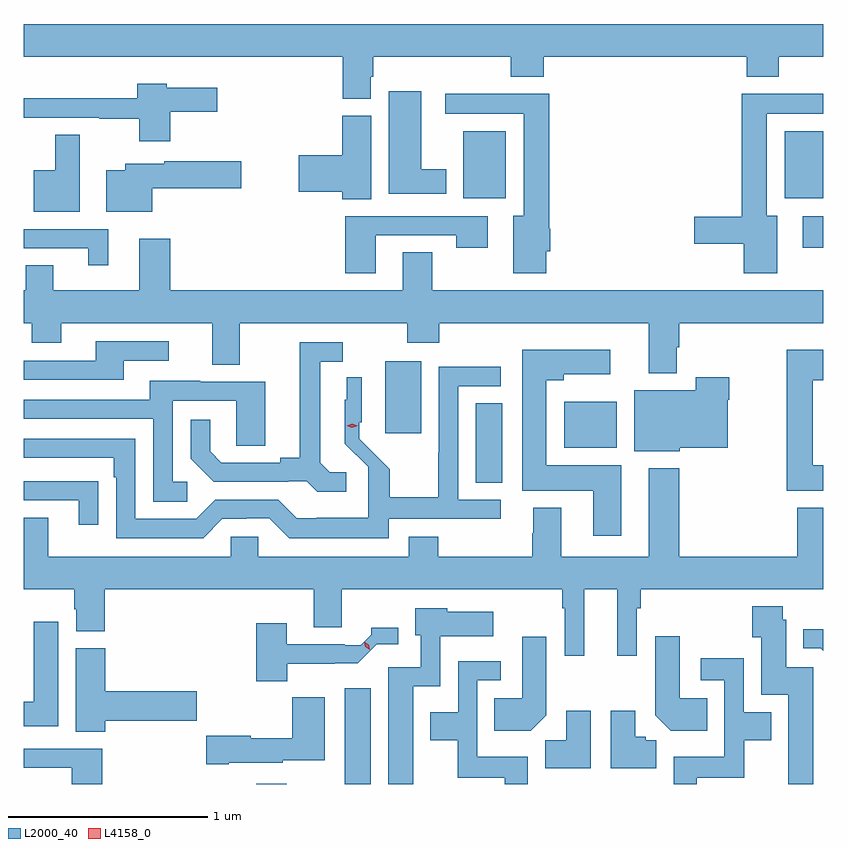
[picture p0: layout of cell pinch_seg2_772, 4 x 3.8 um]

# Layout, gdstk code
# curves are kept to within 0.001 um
import gdstk
lib = gdstk.Library(unit=1e-6, precision=1e-09)
def R(c, l, rs):  # rectangles x0, y0, x1, y1
    for r in rs: c.add(gdstk.rectangle(r[:2], r[2:], *l))
def P(c, l, *ps):  # polygons
    for p in ps: c.add(gdstk.Polygon(p, *l))
L2000_40 = (2000, 40)
L4158_0 = (4158, 0)

pinch_seg2_772 = lib.new_cell('pinch_seg2_772')
R(pinch_seg2_772, L2000_40, [(661.979,659.982,662.131,659.983), (662.42,659.982,662.551,660.46), (663.077,661.489,663.208,661.886), (663.518,661.664,663.781,661.894), (662.624,661.736,662.803,662.098), (664.713,662.664,664.815,662.823), (663.014,662.912,663.226,663.247), (664.622,662.912,664.815,663.247)])
P(pinch_seg2_772, L2000_40, [(662.551,663.519),(662.564,663.519),(662.564,663.62),(663.251,663.62),(663.251,663.521),(663.416,663.521),(663.416,663.62),(664.433,663.62),(664.433,663.521),(664.593,663.521),(664.593,663.62),(664.815,663.62),(664.815,663.784),(660.815,663.784),(660.815,663.62),(662.411,663.62),(662.411,663.409),(662.551,663.409)],
  [(661.547,663.344),(661.783,663.344),(661.783,663.466),(661.53,663.466),(661.53,663.484),(661.382,663.484),(661.382,663.413),(660.815,663.413),(660.815,663.315),(661.192,663.315),(661.192,663.31),(661.394,663.31),(661.394,663.198),(661.547,663.198)],
  [(662.929,663.058),(662.803,663.058),(662.803,663.448),(662.642,663.448),(662.642,662.936),(662.929,662.936)],
  [(663.43,662.646),(663.448,662.646),(663.448,662.76),(663.443,662.76),(663.443,663.434),(662.925,663.434),(662.925,663.336),(663.317,663.336),(663.317,662.824),(663.263,662.824),(663.263,662.538),(663.43,662.538)],
  [(664.585,662.824),(664.531,662.824),(664.531,663.336),(664.815,663.336),(664.815,663.434),(664.406,663.434),(664.406,662.819),(664.17,662.819),(664.17,662.684),(664.418,662.684),(664.418,662.538),(664.585,662.538)],
  [(662.554,663.324),(662.408,663.324),(662.408,663.128),(662.19,663.128),(662.19,662.945),(662.408,662.945),(662.408,662.908),(662.554,662.908)],
  [(661.096,663.23),(660.974,663.23),(660.974,663.052),(660.866,663.052),(660.866,662.846),(661.096,662.846)],
  [(661.459,662.963),(661.903,662.963),(661.903,663.097),(661.518,663.097),(661.518,663.085),(661.322,663.085),(661.322,663.052),(661.229,663.052),(661.229,662.846),(661.459,662.846)],
  [(662.575,662.727),(662.98,662.727),(662.98,662.664),(663.136,662.664),(663.136,662.823),(662.423,662.823),(662.423,662.538),(662.575,662.538)],
  [(661.237,662.757),(660.815,662.757),(660.815,662.661),(661.139,662.661),(661.139,662.577),(661.237,662.577)],
  [(664.081,662.168),(664.094,662.168),(664.094,662.288),(664.815,662.288),(664.815,662.452),(662.859,662.452),(662.859,662.642),(662.711,662.642),(662.711,662.452),(661.547,662.452),(661.547,662.71),(661.394,662.71),(661.394,662.452),(660.964,662.452),(660.964,662.576),(660.824,662.576),(660.824,662.452),(660.815,662.452),(660.815,662.288),(660.856,662.288),(660.856,662.189),(661.003,662.189),(661.003,662.288),(661.757,662.288),(661.757,662.08),(661.897,662.08),(661.897,662.288),(662.734,662.288),(662.734,662.189),(662.894,662.189),(662.894,662.288),(663.941,662.288),(663.941,662.036),(664.081,662.036)],
  [(661.315,662.1),(661.54,662.1),(661.54,662.196),(661.175,662.196),(661.175,662.1),(660.815,662.1),(660.815,662.004),(661.315,662.004)],
  [(662.428,661.542),(662.346,661.542),(662.299,661.589),(662.299,662.095),(662.41,662.095),(662.41,662.193),(662.195,662.193),(662.195,661.613),(662.099,661.613),(662.099,661.59),(661.804,661.59),(661.747,661.647),(661.747,661.804),(661.65,661.804),(661.65,661.61),(661.766,661.494),(662.138,661.494),(662.138,661.497),(662.232,661.497),(662.284,661.445),(662.428,661.445)],
  [(664.815,661.576),(664.762,661.576),(664.762,662.003),(664.815,662.003),(664.815,662.155),(664.633,662.155),(664.633,661.448),(664.815,661.448)],
  [(663.805,661.576),(663.43,661.576),(663.43,662.003),(663.517,662.003),(663.517,662.033),(663.748,662.033),(663.748,662.155),(663.308,662.155),(663.308,661.448),(663.665,661.448),(663.665,661.224),(663.805,661.224)],
  [(662.64,661.308),(663.202,661.308),(663.202,661.404),(662.988,661.404),(662.988,661.971),(663.202,661.971),(663.202,662.07),(662.892,662.07),(662.892,661.64),(662.89,661.64),(662.89,661.417),(662.645,661.417),(662.645,661.556),(662.493,661.708),(662.493,661.791),(662.505,661.791),(662.505,662.017),(662.43,662.017),(662.43,661.904),(662.421,661.904),(662.421,661.685),(662.539,661.568),(662.539,661.315),(662.281,661.315),(662.281,661.311),(662.181,661.311),(662.088,661.404),(661.773,661.404),(661.677,661.308),(661.374,661.308),(661.374,661.71),(660.815,661.71),(660.815,661.614),(661.265,661.614),(661.265,661.517),(661.278,661.517),(661.278,661.212),(661.713,661.212),(661.809,661.308),(661.928,661.308),(661.928,661.311),(662.043,661.311),(662.143,661.211),(662.64,661.211)],
  [(664.098,661.664),(664.336,661.664),(664.336,661.904),(664.344,661.904),(664.344,662.017),(664.178,662.017),(664.178,661.951),(663.869,661.951),(663.869,661.646),(664.098,661.646)],
  [(661.633,661.494),(661.56,661.494),(661.56,661.899),(661.878,661.899),(661.878,661.675),(662.023,661.675),(662.023,661.995),(661.699,661.995),(661.699,661.999),(661.445,661.999),(661.445,661.905),(660.815,661.905),(660.815,661.809),(661.464,661.809),(661.464,661.393),(661.633,661.393)],
  [(663.619,660.956),(663.785,660.956),(663.785,660.624),(663.882,660.624),(663.882,660.86),(663.902,660.86),(663.902,660.956),(664.815,660.956),(664.815,661.363),(664.685,661.363),(664.685,661.12),(664.094,661.12),(664.094,661.561),(663.941,661.561),(663.941,661.12),(663.505,661.12),(663.505,661.363),(663.365,661.363),(663.365,661.236),(663.358,661.236),(663.358,661.12),(662.889,661.12),(662.889,661.219),(662.741,661.219),(662.741,661.12),(661.989,661.12),(661.989,661.218),(661.851,661.218),(661.851,661.12),(660.937,661.12),(660.937,661.315),(660.815,661.315),(660.815,660.956),(661.067,660.956),(661.067,660.855),(661.079,660.855),(661.079,660.745),(661.22,660.745),(661.22,660.956),(662.267,660.956),(662.267,660.766),(662.407,660.766),(662.407,660.956),(663.51,660.956),(663.51,660.86),(663.522,660.86),(663.522,660.624),(663.619,660.624)],
  [(661.187,661.496),(661.085,661.496),(661.085,661.497),(660.815,661.497),(660.815,661.401),(661.091,661.401),(661.091,661.278),(661.187,661.278)],
  [(664.765,660.567),(664.63,660.567),(664.63,660.804),(664.611,660.804),(664.611,660.871),(664.459,660.871),(664.459,660.715),(664.505,660.715),(664.505,660.428),(664.64,660.428),(664.64,659.982),(664.765,659.982)],
  [(662.764,660.47),(662.898,660.47),(662.898,660.722),(663.163,660.722),(663.163,660.844),(662.934,660.844),(662.934,660.862),(662.774,660.862),(662.774,660.726),(662.802,660.726),(662.802,660.567),(662.639,660.567),(662.639,659.982),(662.764,659.982)],
  [(660.988,660.793),(660.866,660.793),(660.866,660.394),(660.815,660.394),(660.815,660.272),(660.988,660.272)],
  [(662.134,660.584),(662.486,660.585),(662.582,660.681),(662.689,660.681),(662.689,660.764),(662.553,660.764),(662.553,660.728),(662.502,660.677),(662.421,660.677),(662.421,660.681),(662.131,660.681),(662.131,660.787),(661.979,660.787),(661.979,660.497),(662.134,660.497)],
  [(664.815,660.757),(664.715,660.757),(664.715,660.66),(664.803,660.66),(664.815,660.648)],
  [(664.235,660.412),(664.096,660.412),(664.096,660.721),(663.974,660.721),(663.974,660.326),(664.052,660.248),(664.235,660.248)],
  [(663.43,660.326),(663.43,660.718),(663.308,660.718),(663.308,660.412),(663.169,660.412),(663.169,660.248),(663.352,660.248)],
  [(661.223,660.299),(661.681,660.299),(661.681,660.446),(661.223,660.446),(661.223,660.66),(661.076,660.66),(661.076,660.244),(661.223,660.244)],
  [(664.183,660.014),(664.419,660.014),(664.419,660.2),(664.555,660.2),(664.555,660.34),(664.416,660.34),(664.416,660.61),(664.203,660.61),(664.203,660.501),(664.32,660.501),(664.32,660.118),(664.067,660.118),(664.067,659.982),(664.183,659.982)],
  [(663.337,660.118),(663.084,660.118),(663.084,660.501),(663.202,660.501),(663.202,660.597),(662.988,660.597),(662.988,660.34),(662.849,660.34),(662.849,660.2),(662.986,660.2),(662.986,660.014),(663.221,660.014),(663.221,659.982),(663.337,659.982)],
  [(661.84,660.089),(662.112,660.089),(662.112,660.101),(662.32,660.101),(662.32,660.415),(662.158,660.415),(662.158,660.211),(661.95,660.211),(661.95,660.224),(661.728,660.224),(661.728,660.082),(661.84,660.082)],
  [(663.979,660.2),(663.927,660.2),(663.927,660.218),(663.874,660.218),(663.874,660.349),(663.752,660.349),(663.752,660.062),(663.979,660.062)],
  [(663.652,660.349),(663.53,660.349),(663.53,660.2),(663.425,660.2),(663.425,660.062),(663.652,660.062)],
  [(661.208,660.159),(660.815,660.159),(660.815,660.063),(661.055,660.063),(661.055,659.982),(661.208,659.982)])
P(pinch_seg2_772, L4158_0, [(662.545,660.653),(662.523,660.668),(662.518,660.693),(662.518,660.693),(662.518,660.693),(662.54,660.679),(662.545,660.654),(662.545,660.653)],
  [(662.457,661.763),(662.43,661.774),(662.43,661.774),(662.43,661.774),(662.458,661.783),(662.485,661.773),(662.486,661.773),(662.485,661.773)])

lib.write_gds('pinch_seg2_772.gds')
